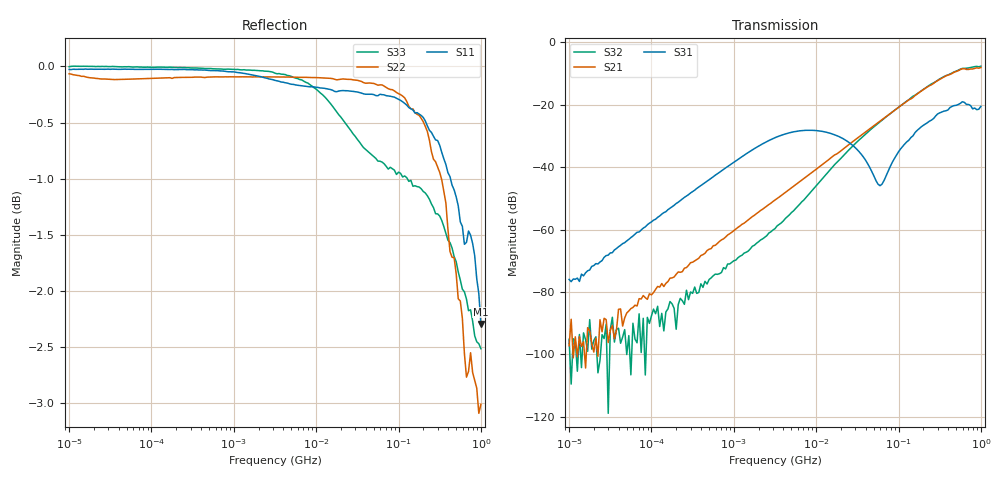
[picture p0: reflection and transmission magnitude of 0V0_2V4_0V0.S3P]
!Keysight Technologies,E5080A,MY55100144,A.11.70.03
!Date: Monday, November 13, 2017 17:24:33
!Correction: S11(Full 3 Port(1,2,3))
!S12(Full 3 Port(1,2,3))
!S13(Full 3 Port(1,2,3))
!S21(Full 3 Port(1,2,3))
!S22(Full 3 Port(1,2,3))
!S23(Full 3 Port(1,2,3))
!S31(Full 3 Port(1,2,3))
!S32(Full 3 Port(1,2,3))
!S33(Full 3 Port(1,2,3))
!S3P File: Measurements: <S11,S12,S13>,
!<S21,S22,S23>,
!<S31,S32,S33>:Log Frequency Sweep
# Hz S  RI  R 50
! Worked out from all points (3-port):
!   201 points, 10 kHz to 1 GHz, reference 50 ohm
!   strongest paths, dB at 10 kHz, 177.8 kHz, 3.162 MHz, 56.23 MHz, 1 GHz:
!     S31: -76.0, -52.7, -30.6, -45.4, -20.5
!     S21: -97.3, -75.5, -50.6, -25.7, -8.0
!     S32: -95.2, -83.8, -59.7, -26.0, -7.6
!   lowest |S11| = -2.3 dB at 1 GHz (marker M1), VSWR 7.62, Z = 381 - j0.0698 ohm
!   |S11| at or under -10 dB: nowhere
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10000  0.9968 -0.00506  -1.28e-05 5.45e-06  4.02e-06 0.000159
       -1.2e-05 6.64e-06  0.47 -0.874  -3.93e-06 1.7e-05
       4.74e-06 0.000158  -1.3e-05 1.15e-05  0.9996 -0.00233
63095.73  0.9963 -0.0325  2.01e-05 5.04e-05  -2.72e-06 0.000817
          -2.07e-05 5.76e-05  -0.8554 -0.4927  -2.35e-05 1.85e-05
          1.73e-05 0.000842  -1.55e-05 8.18e-06  0.9993 -0.00696
375837.4  0.9778 -0.1908  -1.17e-05 0.000293  0.000724 0.00466
          -1.55e-05 0.000346  -0.9851 -0.0873  -5.19e-06 0.000113
          0.000695 0.00476  -1.72e-05 9.66e-05  0.9975 -0.0367
3162278  0.197 -0.9658  -0.000232 0.00272  0.0218 0.0194
         -1.02e-05 0.00297  -0.9892 0.00458  -0.000295 0.000998
         0.0221 0.0198  -0.000296 0.00099  0.95 -0.2892
2.113489e7  -0.9339 -0.2817  0.00136 0.0193  0.0237 -0.0156
            0.0014 0.0193  -0.9824 0.0972  -0.00561 0.0139
            0.024 -0.0157  -0.00559 0.0139  -0.0173 -0.9464
5.956621e7  -0.9697 0.0635  0.0128 0.053  0.00497 0.000615
            0.0129 0.0531  -0.9433 0.2702  0.000785 0.0534
            0.00503 0.000489  0.000908 0.0534  -0.7803 -0.4631
1.059254e8  -0.9326 0.2507  0.0396 0.0877  0.00988 0.0169
            0.0397 0.0877  -0.8554 0.4604  0.0277 0.0927
            0.00993 0.0169  0.0277 0.0926  -0.8914 -0.0915
3.758374e8  -0.3706 0.8249  0.288 0.032  0.08 -0.00769
            0.2882 0.0319  0.0954 0.8641  0.2888 0.0544
            0.0799 -0.00779  0.2884 0.0544  -0.4869 0.6878
7.079458e8  0.4633 0.7063  0.1981 -0.3109  0.0104 -0.1007
            0.1979 -0.311  0.6958 0.226  0.2443 -0.3041
            0.0105 -0.1007  0.2444 -0.3038  0.2593 0.7341
1e9  0.7681 -3.75e-05  -0.0998 -0.3836  -0.0572 -0.0751
     -0.1002 -0.3836  0.5904 -0.3896  -0.0472 -0.4134
     -0.0573 -0.0751  -0.0469 -0.4135  0.6819 0.3095
